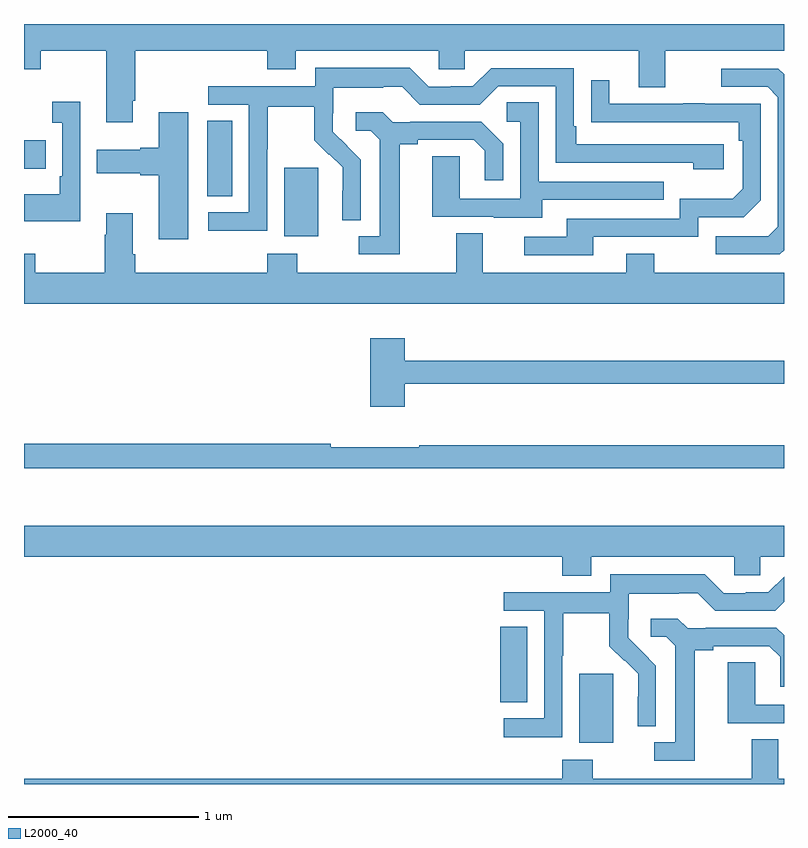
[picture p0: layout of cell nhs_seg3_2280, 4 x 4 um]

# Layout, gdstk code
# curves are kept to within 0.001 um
import gdstk
lib = gdstk.Library(unit=1e-6, precision=1e-09)
def R(c, l, rs):  # rectangles x0, y0, x1, y1
    for r in rs: c.add(gdstk.rectangle(r[:2], r[2:], *l))
def P(c, l, *ps):  # polygons
    for p in ps: c.add(gdstk.Polygon(p, *l))
L2000_40 = (2000, 40)

nhs_seg3_2280 = lib.new_cell('nhs_seg3_2280')
R(nhs_seg3_2280, L2000_40, [(231.923,686.618,232.102,686.979), (231.506,686.83,231.649,687.227), (230.369,689.282,230.548,689.643), (229.964,689.494,230.095,689.891), (229,689.639,229.115,689.787)])
P(nhs_seg3_2280, L2000_40, [(229.573,689.995),(229.586,689.995),(229.586,690.26),(230.279,690.26),(230.279,690.161),(230.431,690.161),(230.431,690.26),(231.183,690.26),(231.183,690.162),(231.321,690.162),(231.321,690.26),(232.235,690.26),(232.235,690.066),(232.375,690.066),(232.375,690.26),(233,690.26),(233,690.4),(229,690.4),(229,690.161),(229.089,690.161),(229.089,690.26),(229.433,690.26),(229.433,689.883),(229.573,689.883)],
  [(230.28,689.74),(230.283,689.74),(230.283,689.964),(230.527,689.964),(230.527,689.789),(230.604,689.712),(230.607,689.715),(230.678,689.645),(230.678,689.522),(230.676,689.522),(230.676,689.368),(230.772,689.368),(230.772,689.686),(230.626,689.834),(230.626,689.931),(230.628,689.931),(230.628,690.065),(230.891,690.065),(230.891,690.069),(230.991,690.069),(231.084,689.976),(231.399,689.976),(231.495,690.072),(231.798,690.072),(231.798,689.67),(232.523,689.67),(232.523,689.636),(232.684,689.636),(232.684,689.766),(231.907,689.766),(231.907,689.863),(231.894,689.863),(231.894,690.168),(231.459,690.168),(231.363,690.072),(231.245,690.072),(231.245,690.069),(231.129,690.069),(231.029,690.169),(230.532,690.169),(230.532,690.072),(229.971,690.072),(229.971,689.976),(230.184,689.976),(230.184,689.409),(229.971,689.409),(229.971,689.311),(230.28,689.311)],
  [(233,689.21),(233,690.136),(232.971,690.165),(232.671,690.165),(232.671,690.069),(232.914,690.069),(232.968,690.015),(232.968,689.334),(232.917,689.283),(232.641,689.283),(232.641,689.187),(232.977,689.187)],
  [(231.997,689.28),(232.548,689.28),(232.548,689.382),(232.788,689.382),(232.878,689.472),(232.878,689.979),(232.583,689.979),(232.583,689.984),(232.471,689.984),(232.471,689.979),(232.081,689.979),(232.081,690.103),(231.985,690.103),(231.985,689.884),(232.762,689.883),(232.762,689.786),(232.782,689.786),(232.782,689.532),(232.729,689.479),(232.452,689.479),(232.452,689.376),(231.857,689.376),(231.857,689.28),(231.633,689.28),(231.633,689.184),(231.997,689.184)],
  [(229.296,689.992),(229.149,689.992),(229.149,689.879),(229.2,689.879),(229.2,689.599),(229.188,689.599),(229.188,689.503),(229,689.503),(229,689.363),(229.296,689.363)],
  [(231.727,689.475),(232.367,689.475),(232.367,689.571),(231.708,689.571),(231.708,689.987),(231.54,689.987),(231.54,689.886),(231.612,689.886),(231.612,689.481),(231.294,689.481),(231.294,689.705),(231.149,689.705),(231.149,689.385),(231.473,689.385),(231.473,689.381),(231.727,689.381)],
  [(230.977,689.768),(231.073,689.768),(231.073,689.79),(231.368,689.79),(231.425,689.733),(231.425,689.577),(231.522,689.577),(231.522,689.77),(231.406,689.886),(231.034,689.886),(231.034,689.883),(230.94,689.883),(230.888,689.935),(230.745,689.935),(230.745,689.838),(230.826,689.838),(230.873,689.791),(230.873,689.283),(230.763,689.283),(230.763,689.187),(230.977,689.187)],
  [(229.864,689.935),(229.709,689.935),(229.709,689.75),(229.613,689.75),(229.613,689.737),(229.383,689.737),(229.383,689.615),(229.613,689.615),(229.613,689.603),(229.709,689.603),(229.709,689.268),(229.864,689.268)],
  [(233,689.092),(232.317,689.092),(232.317,689.191),(232.169,689.191),(232.169,689.092),(231.415,689.092),(231.415,689.3),(231.275,689.3),(231.275,689.092),(230.439,689.092),(230.439,689.191),(230.279,689.191),(230.279,689.092),(229.586,689.092),(229.586,689.188),(229.573,689.188),(229.573,689.404),(229.433,689.404),(229.433,689.291),(229.426,689.291),(229.426,689.092),(229.059,689.092),(229.059,689.191),(229,689.191),(229,688.928),(233,688.928)],
  [(231.005,688.506),(233,688.506),(233,688.627),(231.005,688.627),(231.005,688.747),(230.822,688.747),(230.822,688.386),(231.005,688.386)],
  [(233,688.183),(231.08,688.183),(231.08,688.172),(230.615,688.172),(230.615,688.19),(229,688.19),(229,688.062),(233,688.062)],
  [(231.985,687.596),(232.737,687.596),(232.737,687.498),(232.875,687.498),(232.875,687.596),(233,687.596),(233,687.76),(229,687.76),(229,687.596),(231.833,687.596),(231.833,687.497),(231.985,687.497)],
  [(231.834,687.076),(231.837,687.076),(231.837,687.3),(232.081,687.3),(232.081,687.125),(232.158,687.048),(232.161,687.051),(232.232,686.981),(232.232,686.858),(232.23,686.858),(232.23,686.704),(232.326,686.704),(232.326,687.022),(232.18,687.17),(232.18,687.267),(232.182,687.267),(232.182,687.401),(232.445,687.401),(232.445,687.405),(232.545,687.405),(232.638,687.312),(232.953,687.312),(233,687.359),(233,687.491),(232.917,687.408),(232.799,687.408),(232.799,687.405),(232.683,687.405),(232.583,687.505),(232.086,687.505),(232.086,687.408),(231.525,687.408),(231.525,687.312),(231.738,687.312),(231.738,686.745),(231.525,686.745),(231.525,686.647),(231.834,686.647)],
  [(232.531,687.104),(232.627,687.104),(232.627,687.126),(232.922,687.126),(232.979,687.069),(232.979,686.913),(233,686.913),(233,687.182),(232.96,687.222),(232.588,687.222),(232.588,687.219),(232.494,687.219),(232.442,687.271),(232.299,687.271),(232.299,687.174),(232.38,687.174),(232.427,687.127),(232.427,686.619),(232.317,686.619),(232.317,686.523),(232.531,686.523)],
  [(233,686.817),(232.848,686.817),(232.848,687.041),(232.703,687.041),(232.703,686.721),(233,686.721)],
  [(233,686.428),(232.969,686.428),(232.969,686.636),(232.829,686.636),(232.829,686.428),(231.993,686.428),(231.993,686.527),(231.833,686.527),(231.833,686.428),(229,686.428),(229,686.4),(233,686.4)])

lib.write_gds('nhs_seg3_2280.gds')
